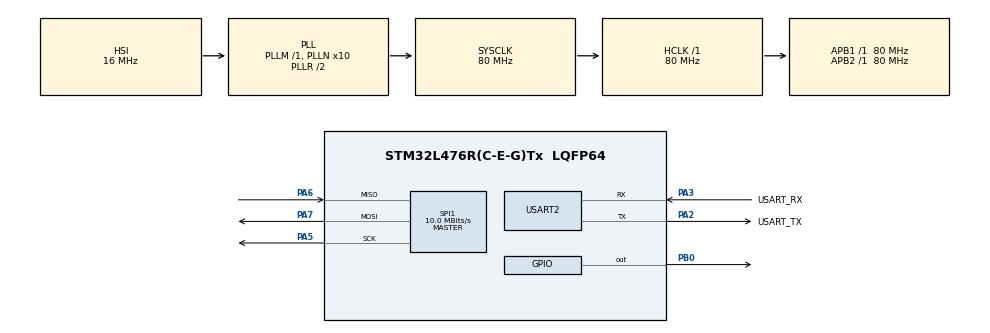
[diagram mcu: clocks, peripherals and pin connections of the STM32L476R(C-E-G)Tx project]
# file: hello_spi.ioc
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Mcu.Family=STM32L4
PA2.GPIO_PuPd=GPIO_NOPULL
PA6.Mode=Full_Duplex_Master
VP_SYS_VS_tim6.Mode=TIM6
RCC.CortexFreq_Value=80000000
FATFS._USE_LFN=2
SPI1.VirtualType=VM_MASTER
NVIC.TIM6_DAC_IRQn=true\:0\:0\:false\:false\:true\:false\:false\:true
PH0-OSC_IN\ (PH0).Signal=RCC_OSC_IN
PA3.GPIO_PuPd=GPIO_NOPULL
PA2.GPIO_Speed=GPIO_SPEED_FREQ_VERY_HIGH
PC15-OSC32_OUT\ (PC15).Mode=LSE-External-Oscillator
PA3.GPIO_Speed=GPIO_SPEED_FREQ_VERY_HIGH
RCC.SYSCLKSource=RCC_SYSCLKSOURCE_PLLCLK
ProjectManager.StackSize=0x400
PB3\ (JTDO-TRACESWO).Signal=SYS_JTDO-SWO
PC14-OSC32_IN\ (PC14).Mode=LSE-External-Oscillator
VP_FREERTOS_VS_CMSIS_V2.Mode=CMSIS_V2
PA14\ (JTCK-SWCLK).Signal=SYS_JTCK-SWCLK
SPI1.Direction=SPI_DIRECTION_2LINES
RCC.HCLKFreq_Value=80000000
RCC.APB2TimFreq_Value=80000000
SPI1.CalculateBaudRate=10.0 MBits/s
RCC.AHBFreq_Value=80000000
RCC.PREFETCH_ENABLE=1
RCC.HSE_VALUE=8000000
USART2.VirtualMode-Asynchronous=VM_ASYNC
SPI1.DataSize=SPI_DATASIZE_8BIT
Mcu.Package=LQFP64
PA6.Signal=SPI1_MISO
NVIC.TimeBase=TIM6_DAC_IRQn
PA2.GPIO_Label=USART_TX
NVIC.TimeBaseIP=TIM6
RCC.APB1TimFreq_Value=80000000
PA13\ (JTMS-SWDIO).Signal=SYS_JTMS-SWDIO
SPI1.BaudRatePrescaler=SPI_BAUDRATEPRESCALER_8
PA3.Signal=USART2_RX
PA5.Mode=Full_Duplex_Master
PA2.GPIO_Mode=GPIO_MODE_AF_PP
RCC.MSI_VALUE=4000000
RCC.PLLSourceVirtual=RCC_PLLSOURCE_HSI
PA14\ (JTCK-SWCLK).Mode=Serial_Wire
FREERTOS.Tasks01=microSDTask,24,128,StartMicroSDTask,Default,NULL,Dynamic,NULL,NULL
PA7.Mode=Full_Duplex_Master
PC15-OSC32_OUT\ (PC15).Signal=RCC_OSC32_OUT
PA14\ (JTCK-SWCLK).GPIO_Label=TCK
PB3\ (JTDO-TRACESWO).GPIO_Label=SWO
PH1-OSC_OUT\ (PH1).Signal=RCC_OSC_OUT
PA3.Mode=Asynchronous
ProjectManager.TargetToolchain=STM32CubeIDE
PA3.GPIO_Mode=GPIO_MODE_AF_PP
RCC.USBFreq_Value=64000000
VP_FATFS_VS_Generic.Mode=User_defined
PA5.Signal=SPI1_SCK
board=NUCLEO-L476RG
RCC.VCOOutputFreq_Value=160000000
RCC.APB2Freq_Value=80000000
PA13\ (JTMS-SWDIO).GPIO_Label=TMS
SPI1.Mode=SPI_MODE_MASTER
RCC.ADCFreq_Value=64000000
Mcu.Name=STM32L476R(C-E-G)Tx
PA2.Signal=USART2_TX
FATFS._MAX_SS=4096
PA13\ (JTMS-SWDIO).Mode=Serial_Wire
RCC.SYSCLKFreq_VALUE=80000000
PC14-OSC32_IN\ (PC14).Signal=RCC_OSC32_IN
ProjectManager.HeapSize=0x200
RCC.HSI_VALUE=16000000
NVIC.PriorityGroup=NVIC_PRIORITYGROUP_4
RCC.PLLN=10
PA2.Mode=Asynchronous
RCC.APB1Freq_Value=80000000
PB0.Signal=GPIO_Output
PA3.GPIO_Label=USART_RX
PA7.Signal=SPI1_MOSI

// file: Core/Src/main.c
/* USER CODE BEGIN Header */
/**
  ******************************************************************************
  * @file           : main.c
  * @brief          : Main program body
  ******************************************************************************
  * @attention
  *
  * <h2><center>&copy; Copyright (c) 2021 STMicroelectronics.
  * All rights reserved.</center></h2>
  *
  * This software component is licensed by ST under BSD 3-Clause license,
  * the "License"; You may not use this file except in compliance with the
  * License. You may obtain a copy of the License at:
  *                        opensource.org/licenses/BSD-3-Clause
  *
  ******************************************************************************
  */
/* USER CODE END Header */
#include "main.h"
#include "cmsis_os.h"
#include "fatfs.h"

/* USER CODE BEGIN Includes */
#include <stdlib.h>
#include <string.h>
#include "fatfs_sd.h"
#include "stdio.h"
#include "string.h"
/* USER CODE END Includes */

/* USER CODE BEGIN PTD */
#ifdef __GNUC__
	#define PUTCHAR_PROTOTYPE int __io_putchar(int ch)
#else
	#define PUTCHAR_PROTOTYPE int fputc(int ch, FILE *f)
#endif /* __GNUC__ */
/* USER CODE END PTD */

SPI_HandleTypeDef hspi1;

UART_HandleTypeDef huart2;

/* Definitions for microSDTask */
osThreadId_t microSDTaskHandle;
const osThreadAttr_t microSDTask_attributes = {
  .name = "microSDTask",
  .stack_size = 128 * 4 * 4,
  .priority = (osPriority_t) osPriorityNormal,
};

void SystemClock_Config(void);
static void MX_GPIO_Init(void);
static void MX_USART2_UART_Init(void);
static void MX_SPI1_Init(void);
void StartMicroSDTask(void *argument);

/* USER CODE BEGIN 0 */
PUTCHAR_PROTOTYPE
{
	HAL_UART_Transmit(&huart2, (uint8_t *)&ch, 1, 0xFFFF);
	return ch;
}

volatile uint8_t FatFsCnt = 0;
volatile uint8_t Timer1, Timer2;

void SDTimer_Handler(void)
{
	if (Timer1 > 0)
	{
		Timer1--;
	}

	if (Timer2 > 0)
	{
		Timer2--;
	}
}

FATFS fs;
FIL fil;
FRESULT fresult;
char buffer[1024];

UINT br, bw;

FATFS *pfs;
DWORD fre_clust;
uint32_t total, free_space;

void send_uart(char *string)
{
	uint8_t len = strlen(string);
	HAL_UART_Transmit(&huart2, (uint8_t *)string, len, 2000);
}

int bufsize(char *buf)
{
	int i = 0;
	while (*buf++ != '\0') i++;
	return i;
}

void bufclear(void)
{
	for (int i = 0; i < 1024; i++)
	{
		buffer[i] = '\0';
	}
}

/* USER CODE END 0 */

int main(void)
{

  /* MCU Configuration--------------------------------------------------------*/

  /* Reset of all peripherals, Initializes the Flash interface and the Systick. */
  HAL_Init();

  /* Configure the system clock */
  SystemClock_Config();

  /* Initialize all configured peripherals */
  MX_GPIO_Init();
  MX_USART2_UART_Init();
  MX_SPI1_Init();
  MX_FATFS_Init();
  /* USER CODE BEGIN 2 */

	send_uart("Start test\r\n");

  HAL_Delay(1000);

	send_uart("Testing begin\r\n");

  // Mount SDCard
  fresult = f_mount(&fs, "", 1);
  if (fresult != FR_OK)
  {
  	printf("f_mount error (%i)\r\n", fresult);
  	//send_uart("Error in mounting SD card\r\n");
  }
  else
  {
  	send_uart("Successfully mounted SD card\r\n");
  }

	send_uart("Card Check\r\n");
  // Check card capacity
  fresult = f_getfree("", &fre_clust, &pfs);
  if (fresult == FR_OK)
  {
  	send_uart("Success in Card Checked\r\n");
  }
  else
  {
  	send_uart("Error in Card Checked\r\n");
  }

  total = (uint32_t)((pfs->n_fatent - 2) * pfs->csize * 0.5);
  sprintf(buffer, "SD CARD Total Size: \t%lu\r\n", total);
  send_uart(buffer);
  bufclear();
  free_space = (uint32_t)(fre_clust * pfs->csize * 0.5);
  sprintf(buffer, "SD CARD Free Space: \t%lu\r\n", free_space);
  send_uart(buffer);
  bufclear();

  /*
  // Create out first file to write
  fresult = f_open(&fil, "file1.txt", FA_OPEN_ALWAYS | FA_READ | FA_WRITE);
  if (fresult == FR_OK)
  {
  	send_uart("Success open file\r\n");
  }
  else
  {
  	send_uart("Error open file\r\n");
  }

  fresult = f_puts("This data is from the First FILE\r\n", &fil);
  send_uart("File1.txt created and the data is written\n");
  fresult = f_close(&fil);

  // Read out first file
  fresult = f_open(&fil, "file1.txt", FA_READ);
  f_gets(buffer, sizeof(buffer), &fil);
  send_uart(buffer);
  f_close(&fil);
  bufclear();
   */

	send_uart("Testing complete\r\n");

  /* USER CODE END 2 */

  /* Init scheduler */
  osKernelInitialize();

  /* Create the thread(s) */
  /* creation of microSDTask */
  microSDTaskHandle = osThreadNew(StartMicroSDTask, NULL, &microSDTask_attributes);

  /* Start scheduler */
  osKernelStart();

  /* We should never get here as control is now taken by the scheduler */
  /* Infinite loop */
  while (1)
  {

  }
}

void SystemClock_Config(void)
{
  RCC_OscInitTypeDef RCC_OscInitStruct = {0};
  RCC_ClkInitTypeDef RCC_ClkInitStruct = {0};
  RCC_PeriphCLKInitTypeDef PeriphClkInit = {0};

  /** Initializes the RCC Oscillators according to the specified parameters
  * in the RCC_OscInitTypeDef structure.
  */
  RCC_OscInitStruct.OscillatorType = RCC_OSCILLATORTYPE_HSI;
  RCC_OscInitStruct.HSIState = RCC_HSI_ON;
  RCC_OscInitStruct.HSICalibrationValue = RCC_HSICALIBRATION_DEFAULT;
  RCC_OscInitStruct.PLL.PLLState = RCC_PLL_ON;
  RCC_OscInitStruct.PLL.PLLSource = RCC_PLLSOURCE_HSI;
  RCC_OscInitStruct.PLL.PLLM = 1;
  RCC_OscInitStruct.PLL.PLLN = 10;
  RCC_OscInitStruct.PLL.PLLP = RCC_PLLP_DIV7;
  RCC_OscInitStruct.PLL.PLLQ = RCC_PLLQ_DIV2;
  RCC_OscInitStruct.PLL.PLLR = RCC_PLLR_DIV2;
  if (HAL_RCC_OscConfig(&RCC_OscInitStruct) != HAL_OK)
  {
    Error_Handler();
  }
  /** Initializes the CPU, AHB and APB buses clocks
  */
  RCC_ClkInitStruct.ClockType = RCC_CLOCKTYPE_HCLK|RCC_CLOCKTYPE_SYSCLK
                              |RCC_CLOCKTYPE_PCLK1|RCC_CLOCKTYPE_PCLK2;
  RCC_ClkInitStruct.SYSCLKSource = RCC_SYSCLKSOURCE_PLLCLK;
  RCC_ClkInitStruct.AHBCLKDivider = RCC_SYSCLK_DIV1;
  RCC_ClkInitStruct.APB1CLKDivider = RCC_HCLK_DIV1;
  RCC_ClkInitStruct.APB2CLKDivider = RCC_HCLK_DIV1;

  if (HAL_RCC_ClockConfig(&RCC_ClkInitStruct, FLASH_LATENCY_4) != HAL_OK)
  {
    Error_Handler();
  }
  PeriphClkInit.PeriphClockSelection = RCC_PERIPHCLK_USART2;
  PeriphClkInit.Usart2ClockSelection = RCC_USART2CLKSOURCE_PCLK1;
  if (HAL_RCCEx_PeriphCLKConfig(&PeriphClkInit) != HAL_OK)
  {
    Error_Handler();
  }
  /** Configure the main internal regulator output voltage
  */
  if (HAL_PWREx_ControlVoltageScaling(PWR_REGULATOR_VOLTAGE_SCALE1) != HAL_OK)
  {
    Error_Handler();
  }
}

static void MX_SPI1_Init(void)
{

  /* SPI1 parameter configuration*/
  hspi1.Instance = SPI1;
  hspi1.Init.Mode = SPI_MODE_MASTER;
  hspi1.Init.Direction = SPI_DIRECTION_2LINES;
  hspi1.Init.DataSize = SPI_DATASIZE_8BIT;
  hspi1.Init.CLKPolarity = SPI_POLARITY_LOW;
  hspi1.Init.CLKPhase = SPI_PHASE_1EDGE;
  hspi1.Init.NSS = SPI_NSS_SOFT;
  hspi1.Init.BaudRatePrescaler = SPI_BAUDRATEPRESCALER_8;
  hspi1.Init.FirstBit = SPI_FIRSTBIT_MSB;
  hspi1.Init.TIMode = SPI_TIMODE_DISABLE;
  hspi1.Init.CRCCalculation = SPI_CRCCALCULATION_DISABLE;
  hspi1.Init.CRCPolynomial = 7;
  hspi1.Init.CRCLength = SPI_CRC_LENGTH_DATASIZE;
  hspi1.Init.NSSPMode = SPI_NSS_PULSE_ENABLE;
  if (HAL_SPI_Init(&hspi1) != HAL_OK)
  {
    Error_Handler();
  }

}

static void MX_USART2_UART_Init(void)
{

  huart2.Instance = USART2;
  huart2.Init.BaudRate = 115200;
  huart2.Init.WordLength = UART_WORDLENGTH_8B;
  huart2.Init.StopBits = UART_STOPBITS_1;
  huart2.Init.Parity = UART_PARITY_NONE;
  huart2.Init.Mode = UART_MODE_TX_RX;
  huart2.Init.HwFlowCtl = UART_HWCONTROL_NONE;
  huart2.Init.OverSampling = UART_OVERSAMPLING_16;
  huart2.Init.OneBitSampling = UART_ONE_BIT_SAMPLE_DISABLE;
  huart2.AdvancedInit.AdvFeatureInit = UART_ADVFEATURE_NO_INIT;
  if (HAL_UART_Init(&huart2) != HAL_OK)
  {
    Error_Handler();
  }

}

static void MX_GPIO_Init(void)
{
  GPIO_InitTypeDef GPIO_InitStruct = {0};

  /* GPIO Ports Clock Enable */
  __HAL_RCC_GPIOC_CLK_ENABLE();
  __HAL_RCC_GPIOH_CLK_ENABLE();
  __HAL_RCC_GPIOA_CLK_ENABLE();
  __HAL_RCC_GPIOB_CLK_ENABLE();

  /*Configure GPIO pin Output Level */
  HAL_GPIO_WritePin(GPIOB, GPIO_PIN_0, GPIO_PIN_RESET);

  /*Configure GPIO pin : PB0 */
  GPIO_InitStruct.Pin = GPIO_PIN_0;
  GPIO_InitStruct.Mode = GPIO_MODE_OUTPUT_PP;
  GPIO_InitStruct.Pull = GPIO_NOPULL;
  GPIO_InitStruct.Speed = GPIO_SPEED_FREQ_LOW;
  HAL_GPIO_Init(GPIOB, &GPIO_InitStruct);

}

void StartMicroSDTask(void *argument)
{
  /* USER CODE BEGIN 5 */
  /* Infinite loop */
  for(;;)
  {
  	printf("Task\r\n");
  	//HAL_UART_Transmit(&huart2, (uint8_t *)&adc_raw, 2, HAL_MAX_DELAY);
  	osDelay(100000);
  }
  /* USER CODE END 5 */
}

 /**
  * @brief  Period elapsed callback in non blocking mode
  * @note   This function is called  when TIM6 interrupt took place, inside
  * HAL_TIM_IRQHandler(). It makes a direct call to HAL_IncTick() to increment
  * a global variable "uwTick" used as application time base.
  * @param  htim : TIM handle
  * @retval None
  */
void HAL_TIM_PeriodElapsedCallback(TIM_HandleTypeDef *htim)
{
  if (htim->Instance == TIM6) {
    HAL_IncTick();
  }
}

void Error_Handler(void)
{
  __disable_irq();
  while (1)
  {
  }
}

/************************ (C) COPYRIGHT STMicroelectronics *****END OF FILE****/
